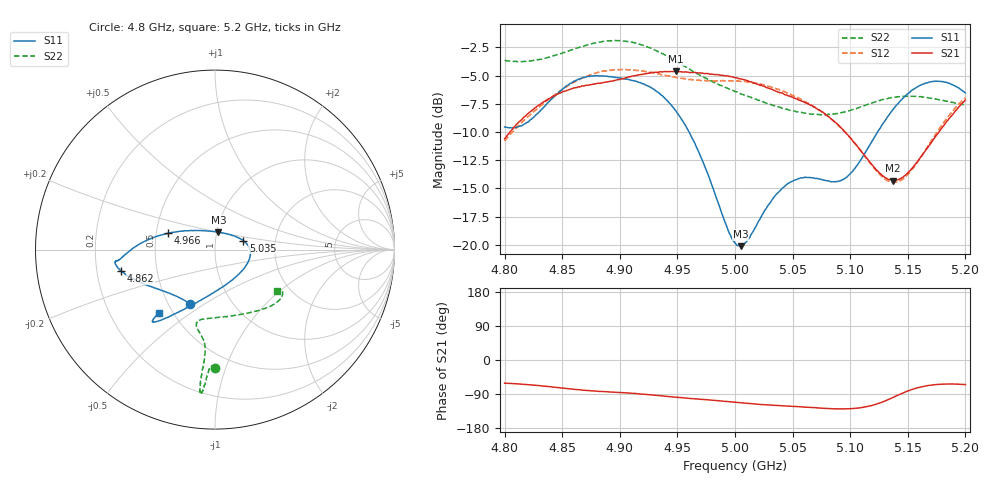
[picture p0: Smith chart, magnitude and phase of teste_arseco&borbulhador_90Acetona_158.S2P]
! Network Analyzer HP8722D
! Hewlett-Packard
! Data name: Linha & Wilkinson
! Saver's name: Rodrigo Anjos
! Comments: Teste da utilização de aquisição
! continua pelo VNA HP8722D
! Time and date: 17/4/2025 12:22
!  Frequency  S11  S21  S12  S22
# HZ  S  MA R 50
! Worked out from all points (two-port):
!   401 points, 4.8 GHz to 5.2 GHz, reference 50 ohm
!   highest |S21| = -4.63 dB at 4.949 GHz (marker M1); lowest = -14.3 dB at 5.137 GHz (marker M2)
!   |S21| within 3 dB of the highest: 4.83 GHz to 5.066 GHz (236.3 MHz wide, 4.78 % of centre); 5.195636 GHz to end of sweep
!   lowest |S11| = -20.1 dB at 5.005 GHz (marker M3), VSWR 1.22, Z = 50.9 + j9.97 ohm
!   |S11| at or under -10 dB: 4.96 GHz to 5.124 GHz (163.6 MHz wide, 3.24 % of centre)
!   |S22| runs from -8.5 to -1.9 dB; largest |S21 - S12| = 0.88
!   S11 on the Smith chart (normalised r, x): 4.8 GHz: 0.64, -0.44; 4.862 GHz: 0.31, -0.10; 4.966 GHz: 0.58, +0.11; 5.035 GHz: 1.37, +0.14; 5.2 GHz: 0.42, -0.38
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4.8e9  0.3332 -114.6  0.2953 -61.2  0.2887 -175.6  0.6573 -90.1
4.819e9  0.3483 -134.6  0.3767 -64.7  0.365 -174.3  0.6515 -91.7
4.862e9  0.5363 -167.1  0.4978 -77.8  0.5324 -177.6  0.7434 -94.1
4.867e9  0.5484 -169.1  0.5065 -79.2  0.5473 -178.6  0.7571 -94.3
4.9e9  0.5494 -173.5  0.5404 -85.7  0.598 175.0  0.8035 -95.7
4.934e9  0.4715 -179.5  0.5826 -94.0  0.5731 171.3  0.713 -96.2
4.949e9  0.3903 173.0  0.5867 -98.1  0.5519 171.8  0.6513 -95.9
4.966e9  0.275 160.6  0.58 -102.5  0.5376 173.4  0.5779 -95.4
4.993e9  0.1199 118.8  0.5609 -109.7  0.5339 175.7  0.4952 -98.2
5e9  0.102 96.7  0.5509 -111.6  0.5338 175.7  0.4782 -99.7
5.005e9  0.09874 79.1  0.5437 -113.0  0.5293 175.7  0.4666 -100.8
5.012e9  0.1067 57.1  0.5306 -114.7  0.5251 175.4  0.4536 -102.3
5.035e9  0.1655 17.7  0.4812 -119.9  0.4944 174.2  0.4122 -103.6
5.05e9  0.1916 2.8  0.4512 -122.5  0.4595 173.7  0.3937 -99.8
5.067e9  0.1986 -15.4  0.4142 -125.3  0.4149 173.4  0.379 -90.6
5.085e9  0.1905 -43.8  0.3564 -128.8  0.3556 173.4  0.3802 -77.1
5.097e9  0.1996 -68.2  0.3102 -128.9  0.3104 174.5  0.3904 -67.1
5.134e9  0.3788 -117.9  0.1949 -103.3  0.1912 -156.1  0.4473 -43.2
5.137e9  0.3966 -119.8  0.1929 -99.1  0.1895 -151.2  0.45 -42.0
5.15e9  0.4677 -125.6  0.2086 -81.8  0.2052 -131.5  0.456 -37.0
5.17e9  0.5282 -130.2  0.2821 -66.3  0.287 -112.6  0.4469 -32.4
5.2e9  0.4708 -131.7  0.438 -64.9  0.4492 -107.0  0.4163 -33.8
